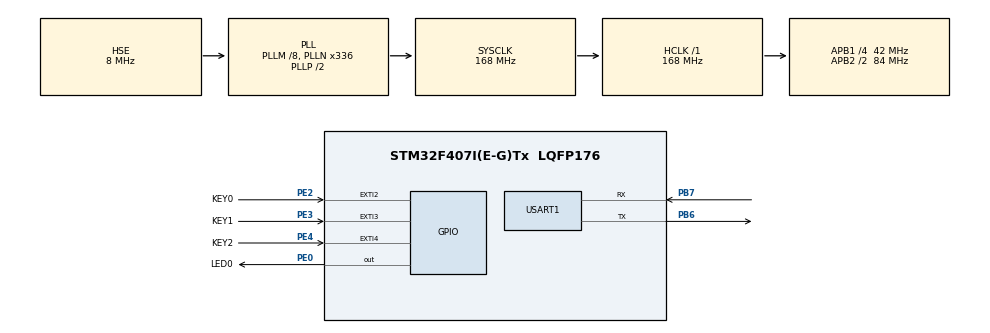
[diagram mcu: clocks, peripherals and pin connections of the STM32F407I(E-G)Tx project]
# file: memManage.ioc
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Mcu.Family=STM32F4
Mcu.Name=STM32F407I(E-G)Tx
Mcu.Package=LQFP176
NVIC.EXTI2_IRQn=true\:1\:0\:true\:false\:true\:true\:true
NVIC.EXTI3_IRQn=true\:1\:0\:true\:false\:true\:true\:true
NVIC.EXTI4_IRQn=true\:1\:0\:true\:false\:true\:true\:true
NVIC.PriorityGroup=NVIC_PRIORITYGROUP_2
PA13.Mode=Serial_Wire
PA13.Signal=SYS_JTMS-SWDIO
PA14.Mode=Serial_Wire
PA14.Signal=SYS_JTCK-SWCLK
PB6.Mode=Asynchronous
PB6.Signal=USART1_TX
PB7.Mode=Asynchronous
PB7.Signal=USART1_RX
PE0.GPIO_Label=LED0
PE0.GPIO_Speed=GPIO_SPEED_FREQ_HIGH
PE0.PinState=GPIO_PIN_SET
PE0.Signal=GPIO_Output
PE2.GPIO_Label=KEY0
PE2.GPIO_ModeDefaultEXTI=GPIO_MODE_IT_FALLING
PE2.GPIO_PuPd=GPIO_PULLUP
PE2.Signal=GPXTI2
PE3.GPIO_Label=KEY1
PE3.GPIO_ModeDefaultEXTI=GPIO_MODE_IT_FALLING
PE3.GPIO_PuPd=GPIO_PULLUP
PE3.Signal=GPXTI3
PE4.GPIO_Label=KEY2
PE4.GPIO_ModeDefaultEXTI=GPIO_MODE_IT_FALLING
PE4.GPIO_PuPd=GPIO_PULLUP
PE4.Signal=GPXTI4
PH0-OSC_IN.Mode=HSE-External-Oscillator
PH0-OSC_IN.Signal=RCC_OSC_IN
PH1-OSC_OUT.Mode=HSE-External-Oscillator
PH1-OSC_OUT.Signal=RCC_OSC_OUT
ProjectManager.HeapSize=0x200
ProjectManager.StackSize=0x400
ProjectManager.TargetToolchain=MDK-ARM V5
RCC.48MHZClocksFreq_Value=84000000
RCC.AHBFreq_Value=168000000
RCC.APB1CLKDivider=RCC_HCLK_DIV4
RCC.APB1Freq_Value=42000000
RCC.APB1TimFreq_Value=84000000
RCC.APB2CLKDivider=RCC_HCLK_DIV2
RCC.APB2Freq_Value=84000000
RCC.APB2TimFreq_Value=168000000
RCC.CortexFreq_Value=168000000
RCC.HCLKFreq_Value=168000000
RCC.HSE_VALUE=8000000
RCC.HSI_VALUE=16000000
RCC.LSE_VALUE=32768
RCC.PLLM=8
RCC.PLLN=336
RCC.PLLSourceVirtual=RCC_PLLSOURCE_HSE
RCC.SYSCLKFreq_VALUE=168000000
RCC.SYSCLKSource=RCC_SYSCLKSOURCE_PLLCLK
RCC.VCOOutputFreq_Value=336000000
USART1.VirtualMode=VM_ASYNC
board=custom

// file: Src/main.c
/* USER CODE BEGIN Header */
/**
  ******************************************************************************
  * @file           : main.c
  * @brief          : Main program body
  ******************************************************************************
  * @attention
  *
  * <h2><center>&copy; Copyright (c) 2024 STMicroelectronics.
  * All rights reserved.</center></h2>
  *
  * This software component is licensed by ST under BSD 3-Clause license,
  * the "License"; You may not use this file except in compliance with the
  * License. You may obtain a copy of the License at:
  *                        opensource.org/licenses/BSD-3-Clause
  *
  ******************************************************************************
  */
/* USER CODE END Header */

#include "main.h"
#include "usart.h"
#include "gpio.h"

/* USER CODE BEGIN Includes */
#include "malloc.h"
/* USER CODE END Includes */

/* USER CODE BEGIN PV */
uint8_t *p = 0;
uint8_t sramx = 0;  /* 默认为内部sram */
uint8_t i = 0;
uint8_t paddr[20];  /* 存放P Addr:+p地址的ASCII值 */
uint16_t memused = 0;  //内存使用率
const char *SRAM_NAME_BUF[SRAMBANK] = {" SRAMIN ", " SRAMCCM "};  //状态
/* USER CODE END PV */

void SystemClock_Config(void);

int main(void)
{

  /* MCU Configuration--------------------------------------------------------*/

  /* Reset of all peripherals, Initializes the Flash interface and the Systick. */
  HAL_Init();

  /* Configure the system clock */
  SystemClock_Config();

  /* Initialize all configured peripherals */
  MX_GPIO_Init();
  MX_USART1_UART_Init();

  /* Infinite loop */
  while (1)
  {

  }
}

void SystemClock_Config(void)
{
  RCC_OscInitTypeDef RCC_OscInitStruct = {0};
  RCC_ClkInitTypeDef RCC_ClkInitStruct = {0};

  /** Configure the main internal regulator output voltage
  */
  __HAL_RCC_PWR_CLK_ENABLE();
  __HAL_PWR_VOLTAGESCALING_CONFIG(PWR_REGULATOR_VOLTAGE_SCALE1);
  /** Initializes the CPU, AHB and APB busses clocks
  */
  RCC_OscInitStruct.OscillatorType = RCC_OSCILLATORTYPE_HSE;
  RCC_OscInitStruct.HSEState = RCC_HSE_ON;
  RCC_OscInitStruct.PLL.PLLState = RCC_PLL_ON;
  RCC_OscInitStruct.PLL.PLLSource = RCC_PLLSOURCE_HSE;
  RCC_OscInitStruct.PLL.PLLM = 8;
  RCC_OscInitStruct.PLL.PLLN = 336;
  RCC_OscInitStruct.PLL.PLLP = RCC_PLLP_DIV2;
  RCC_OscInitStruct.PLL.PLLQ = 4;
  if (HAL_RCC_OscConfig(&RCC_OscInitStruct) != HAL_OK)
  {
    Error_Handler();
  }
  /** Initializes the CPU, AHB and APB busses clocks
  */
  RCC_ClkInitStruct.ClockType = RCC_CLOCKTYPE_HCLK|RCC_CLOCKTYPE_SYSCLK
                              |RCC_CLOCKTYPE_PCLK1|RCC_CLOCKTYPE_PCLK2;
  RCC_ClkInitStruct.SYSCLKSource = RCC_SYSCLKSOURCE_PLLCLK;
  RCC_ClkInitStruct.AHBCLKDivider = RCC_SYSCLK_DIV1;
  RCC_ClkInitStruct.APB1CLKDivider = RCC_HCLK_DIV4;
  RCC_ClkInitStruct.APB2CLKDivider = RCC_HCLK_DIV2;

  if (HAL_RCC_ClockConfig(&RCC_ClkInitStruct, FLASH_LATENCY_5) != HAL_OK)
  {
    Error_Handler();
  }
}

/* USER CODE BEGIN 4 */
//按键中断函数
void HAL_GPIO_EXTI_Callback(uint16_t GPIO_Pin)  //按键中断处理函数
{
    if(GPIO_Pin == KEY0_Pin)
    {
      //KEY0是否按下
			if(GPIO_PIN_RESET == HAL_GPIO_ReadPin(KEY0_GPIO_Port, KEY0_Pin)){
				HAL_Delay(20);  //去抖动
				if(GPIO_PIN_RESET == HAL_GPIO_ReadPin(KEY0_GPIO_Port, KEY0_Pin)){
					printf("KEY0 press,start malloc 2KB mem! \n"); // 申请内存，每次申请2K字节内存
					p = mymalloc(sramx, 2048);  // 申请2K字节,并写入内容
					if (p != NULL){
							sprintf((char *)p, "Memory Malloc Test%03d", i);         /* 向p写入一些内容 */
							printf("malloced mem is set as:%s\n", (char *)p);  /* 显示P的内容 */
					}
					if(0 == sramx){  //SRAM
						memused = my_mem_perused(SRAMIN);
						sprintf((char *)paddr, "%d.%01d%%", memused / 10, memused % 10);
						printf("%s\n", (char *)paddr);   /* 显示内部内存使用率 */
					}else{  //CCM
						memused = my_mem_perused(SRAMCCM);
						sprintf((char *)paddr, "%d.%01d%%", memused / 10, memused % 10);
						printf("%s\n",  (char *)paddr);   /* 显示TCM内存使用率 */
					}
				}
			}
    }
		if(GPIO_Pin == KEY1_Pin)
    {
      //KEY0是否按下
			if(GPIO_PIN_RESET == HAL_GPIO_ReadPin(KEY1_GPIO_Port, KEY1_Pin)){
				HAL_Delay(20);  //去抖动
				if(GPIO_PIN_RESET == HAL_GPIO_ReadPin(KEY1_GPIO_Port, KEY1_Pin)){
					printf("KEY1 press,free mem!\n");  // 释放内存
					myfree(sramx, p);
				}
				if(0 == sramx){  //SRAM
					memused = my_mem_perused(SRAMIN);
					sprintf((char *)paddr, "%d.%01d%%", memused / 10, memused % 10);
					printf("%s\n", (char *)paddr);   /* 显示内部内存使用率 */
				}else{  //CCM
					memused = my_mem_perused(SRAMCCM);
					sprintf((char *)paddr, "%d.%01d%%", memused / 10, memused % 10);
					printf("%s\n",  (char *)paddr);   /* 显示TCM内存使用率 */
				}
			}
    }
		if(GPIO_Pin == KEY2_Pin)
    {
      //KEY0是否按下
			if(GPIO_PIN_RESET == HAL_GPIO_ReadPin(KEY2_GPIO_Port, KEY2_Pin)){
				HAL_Delay(20);  //去抖动
				if(GPIO_PIN_RESET == HAL_GPIO_ReadPin(KEY2_GPIO_Port, KEY2_Pin)){
					printf("KEY1 press,switch SRAMIN/SRAMCCM!\n");  // 切换操作内存区（ SRAMIN/SRAMCCM，总共管理2个内存块）
					sramx = sramx == 0?1:0;
          printf("sramx:%d %s\n", sramx, (char *)SRAM_NAME_BUF[sramx]);
				}
			}
    }
		i++;
}
/* USER CODE END 4 */

void Error_Handler(void)
{
}

/************************ (C) COPYRIGHT STMicroelectronics *****END OF FILE****/
